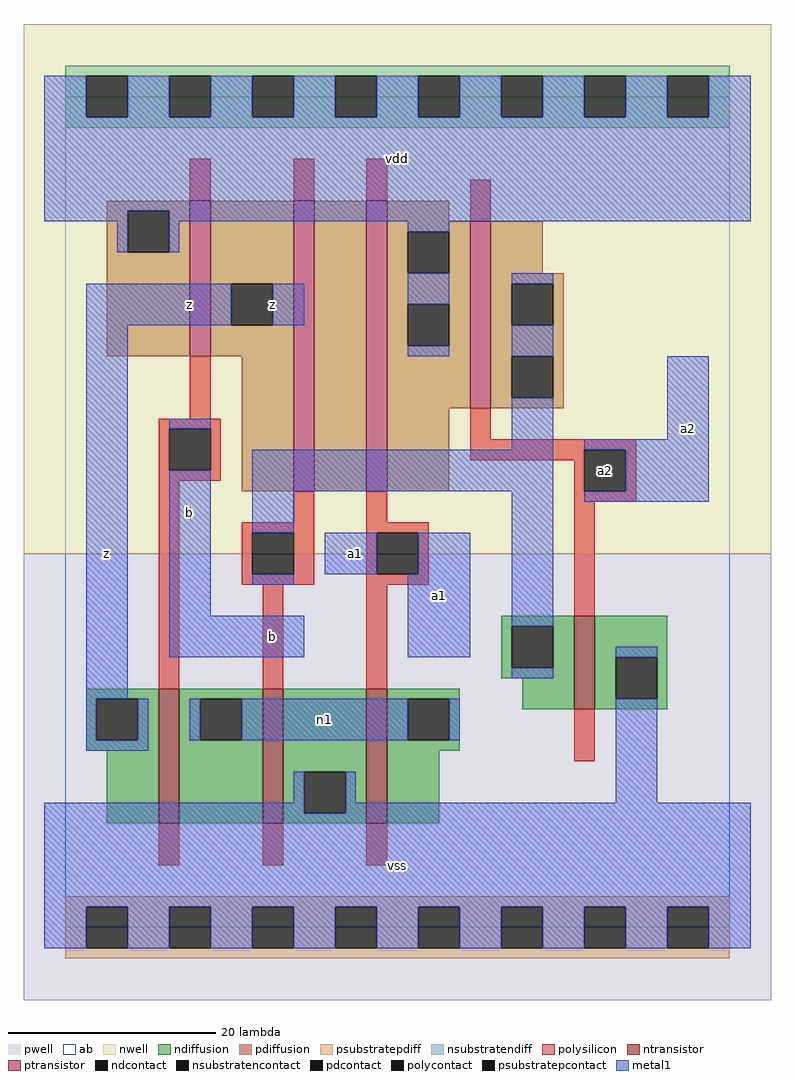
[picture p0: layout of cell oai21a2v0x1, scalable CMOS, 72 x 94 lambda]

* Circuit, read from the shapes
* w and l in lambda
.subckt oai21a2v0x1 a1 a2 b n1 vdd vss z
M1 n1 b z vss nfet w=13 l=2
M2 vss n2 n1 vss nfet w=13 l=2
M3 n1 a1 vss vss nfet w=13 l=2
M4 vss a2 n2 vss nfet w=9 l=2
M5 z b vdd vdd pfet w=15 l=2
M6 n3 n2 z vdd pfet w=28 l=2
M7 vdd a1 n3 vdd pfet w=28 l=2
M8 n2 a2 vdd vdd pfet w=18 l=2
.ends

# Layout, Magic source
magic
tech scmos
<< ab >>
rect 0 0 64 80
<< pwell >>
rect -4 -7 68 36
<< nwell >>
rect -4 36 68 87
<< polysilicon >>
rect 12 70 14 74
rect 22 70 24 74
rect 29 70 31 74
rect 12 49 14 55
rect 9 48 15 49
rect 9 44 10 48
rect 14 44 15 48
rect 9 43 15 44
rect 9 23 11 43
rect 39 68 41 72
rect 39 47 41 50
rect 39 46 55 47
rect 39 45 50 46
rect 49 42 50 45
rect 54 42 55 46
rect 22 39 24 42
rect 17 38 24 39
rect 17 34 18 38
rect 22 34 24 38
rect 17 33 24 34
rect 29 39 31 42
rect 49 41 55 42
rect 29 38 35 39
rect 29 34 30 38
rect 34 34 35 38
rect 29 33 35 34
rect 19 23 21 33
rect 29 23 31 33
rect 49 30 51 41
rect 49 16 51 21
rect 9 6 11 10
rect 19 6 21 10
rect 29 6 31 10
<< ndiffusion >>
rect 42 29 49 30
rect 42 25 43 29
rect 47 25 49 29
rect 42 24 49 25
rect 2 22 9 23
rect 2 18 3 22
rect 7 18 9 22
rect 2 17 9 18
rect 4 10 9 17
rect 11 22 19 23
rect 11 18 13 22
rect 17 18 19 22
rect 11 10 19 18
rect 21 15 29 23
rect 21 11 23 15
rect 27 11 29 15
rect 21 10 29 11
rect 31 22 38 23
rect 31 18 33 22
rect 37 18 38 22
rect 44 21 49 24
rect 51 26 58 30
rect 51 22 53 26
rect 57 22 58 26
rect 51 21 58 22
rect 31 17 38 18
rect 31 10 36 17
<< pdiffusion >>
rect 4 69 12 70
rect 4 65 6 69
rect 10 65 12 69
rect 4 55 12 65
rect 14 62 22 70
rect 14 58 16 62
rect 20 58 22 62
rect 14 55 22 58
rect 17 42 22 55
rect 24 42 29 70
rect 31 68 37 70
rect 31 67 39 68
rect 31 63 33 67
rect 37 63 39 67
rect 31 60 39 63
rect 31 56 33 60
rect 37 56 39 60
rect 31 50 39 56
rect 41 63 46 68
rect 41 62 48 63
rect 41 58 43 62
rect 47 58 48 62
rect 41 55 48 58
rect 41 51 43 55
rect 47 51 48 55
rect 41 50 48 51
rect 31 42 37 50
<< metal1 >>
rect -2 78 2 82
rect 6 78 10 82
rect 14 78 18 82
rect 22 78 26 82
rect 30 78 34 82
rect 38 78 42 82
rect 46 78 50 82
rect 54 78 58 82
rect 62 78 66 82
rect -2 69 66 78
rect -2 68 6 69
rect 5 65 6 68
rect 10 68 66 69
rect 10 65 11 68
rect 33 67 37 68
rect 2 58 16 62
rect 20 58 23 62
rect 33 60 37 63
rect 2 22 6 58
rect 33 55 37 56
rect 43 62 47 63
rect 43 55 47 58
rect 10 48 14 49
rect 43 46 47 51
rect 58 47 62 55
rect 10 30 14 44
rect 18 42 47 46
rect 18 38 22 42
rect 25 34 30 38
rect 34 34 39 38
rect 18 33 22 34
rect 10 26 23 30
rect 33 26 39 34
rect 43 29 47 42
rect 50 46 62 47
rect 54 42 62 46
rect 50 41 62 42
rect 43 24 47 25
rect 53 26 57 27
rect 2 18 3 22
rect 7 18 8 22
rect 12 18 13 22
rect 17 18 33 22
rect 37 18 38 22
rect 2 17 8 18
rect 22 12 23 15
rect -2 11 23 12
rect 27 12 28 15
rect 53 12 57 22
rect 27 11 66 12
rect -2 2 66 11
rect -2 -2 2 2
rect 6 -2 10 2
rect 14 -2 18 2
rect 22 -2 26 2
rect 30 -2 34 2
rect 38 -2 42 2
rect 46 -2 50 2
rect 54 -2 58 2
rect 62 -2 66 2
<< ntransistor >>
rect 9 10 11 23
rect 19 10 21 23
rect 29 10 31 23
rect 49 21 51 30
<< ptransistor >>
rect 12 55 14 70
rect 22 42 24 70
rect 29 42 31 70
rect 39 50 41 68
<< polycontact >>
rect 10 44 14 48
rect 50 42 54 46
rect 18 34 22 38
rect 30 34 34 38
<< ndcontact >>
rect 43 25 47 29
rect 3 18 7 22
rect 13 18 17 22
rect 23 11 27 15
rect 33 18 37 22
rect 53 22 57 26
<< pdcontact >>
rect 6 65 10 69
rect 16 58 20 62
rect 33 63 37 67
rect 33 56 37 60
rect 43 58 47 62
rect 43 51 47 55
<< psubstratepcontact >>
rect 2 -2 6 2
rect 10 -2 14 2
rect 18 -2 22 2
rect 26 -2 30 2
rect 34 -2 38 2
rect 42 -2 46 2
rect 50 -2 54 2
rect 58 -2 62 2
<< nsubstratencontact >>
rect 2 78 6 82
rect 10 78 14 82
rect 18 78 22 82
rect 26 78 30 82
rect 34 78 38 82
rect 42 78 46 82
rect 50 78 54 82
rect 58 78 62 82
<< psubstratepdiff >>
rect 0 2 64 3
rect 0 -2 2 2
rect 6 -2 10 2
rect 14 -2 18 2
rect 22 -2 26 2
rect 30 -2 34 2
rect 38 -2 42 2
rect 46 -2 50 2
rect 54 -2 58 2
rect 62 -2 64 2
rect 0 -3 64 -2
<< nsubstratendiff >>
rect 0 82 64 83
rect 0 78 2 82
rect 6 78 10 82
rect 14 78 18 82
rect 22 78 26 82
rect 30 78 34 82
rect 38 78 42 82
rect 46 78 50 82
rect 54 78 58 82
rect 62 78 64 82
rect 0 77 64 78
<< labels >>
rlabel metal1 4 36 4 36 6 z
rlabel metal1 12 40 12 40 6 b
rlabel metal1 12 60 12 60 6 z
rlabel metal1 20 28 20 28 6 b
rlabel metal1 28 36 28 36 6 a1
rlabel metal1 20 60 20 60 6 z
rlabel metal1 32 6 32 6 6 vss
rlabel metal1 25 20 25 20 6 n1
rlabel metal1 36 32 36 32 6 a1
rlabel metal1 32 74 32 74 6 vdd
rlabel polycontact 52 44 52 44 6 a2
rlabel metal1 60 48 60 48 6 a2
<< end >>
